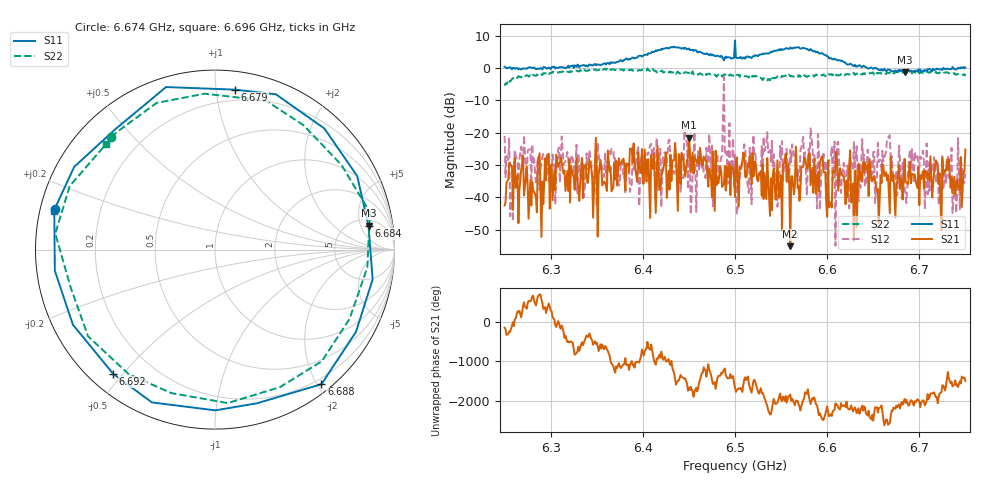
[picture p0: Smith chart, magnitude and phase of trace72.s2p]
# Hz S RI R 50
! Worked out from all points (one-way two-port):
!   401 points, 6.25 GHz to 6.75 GHz, reference 50 ohm
!   highest |S21| = -21.55 dB at 6.45 GHz (marker M1); lowest = -55.1 dB at 6.56 GHz (marker M2)
!   lowest |S11| = -1.3 dB at 6.684 GHz (marker M3), VSWR 13.87, Z = 326 + j344 ohm
!   |S11| at or under -10 dB: nowhere
!   |S22| runs from -5.5 to -0.1 dB; largest |S21 - S12| = 0.74
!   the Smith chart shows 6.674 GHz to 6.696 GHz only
!   S11 on the Smith chart (normalised r, x): 6.674 GHz: 0.04, +0.12; 6.679 GHz: 0.12, +1.13; 6.684 GHz: 6.51, +6.88; 6.688 GHz: 0.12, -2.06; 6.692 GHz: 0.07, -0.47; 6.696 GHz: 0.04, +0.12
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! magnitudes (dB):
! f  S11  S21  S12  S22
! 6.25 GHz  0.4  -42.5  -20.9  -5.5
! 6.259 GHz  0.1  -43.9  -47.4  -3.1
! 6.27 GHz  -0.1  -27.1  -31.3  -2.6
! 6.334 GHz  0.9  -27.8  -28.2  -1.0
! 6.389 GHz  3.3  -29.3  -23.9  -0.8
! 6.418 GHz  5.6  -37.6  -27.1  -0.9
! 6.45 GHz  6.1  -21.5  -25.4  -1.4
! 6.489 GHz  3.3  -30.3  -26.9  -1.9
! 6.5 GHz  8.6  -39.8  -26.3  -2.2
! 6.534 GHz  4.5  -40.5  -23.6  -3.8
! 6.56 GHz  6.4  -55.1  -25.2  -2.5
! 6.584 GHz  5.4  -30.8  -24.0  -2.5
! 6.621 GHz  1.3  -34.8  -36.6  -1.9
! 6.668 GHz  -0.4  -44.9  -20.7  -1.5
! 6.674 GHz  -0.7  -46.3  -38.0  -1.3
! 6.679 GHz  -0.9  -37.4  -28.2  -1.4
! 6.684 GHz  -1.3  -28.1  -36.9  -1.5
! 6.688 GHz  -0.4  -35.8  -31.5  -1.3
! 6.692 GHz  -1.0  -32.7  -25.0  -1.6
! 6.696 GHz  -0.7  -35.0  -27.8  -1.5
! 6.741 GHz  -0.3  -34.6  -38.4  -1.9
! 6.75 GHz  0.2  -25.2  -32.5  -2.4
